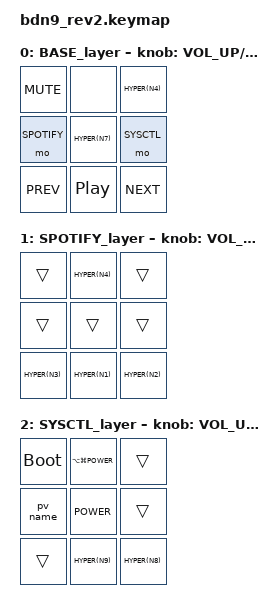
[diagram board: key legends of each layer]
#include <behaviors.dtsi>
#include <dt-bindings/zmk/keys.h>
#include <dt-bindings/zmk/rgb.h>

#define ______ &trans
#define HYPER(key) LS(LC(LA(LG(key))))

&sensors {
	status = "okay";
	sensors = <&left_encoder &mid_encoder &right_encoder>;
};

&left_encoder { status = "okay"; };
&right_encoder { status = "okay"; };


#define BASE    0
#define SPOTIFY 1
#define SYSCTL  2


#define PV_SP_PLAYPAUSE HYPER(N1)
#define PV_SP_NEXT HYPER(N2)
#define PV_SP_PREV HYPER(N3)
#define PV_SP_MUTE HYPER(N4)
#define PV_SP_VOLD HYPER(N5)
#define PV_SP_VOLU HYPER(N6)
#define PV_NT_TOD  HYPER(N7)
#define PV_RORO    HYPER(N8)
#define PV_SCRSVR  HYPER(N9)
#define PV_SLEEP   LA(LG(C_POWER))


/ {
	macros {
		// TODO: at some point, make this into a macro with something like SEND_STRING from qmk. apparently this doesnt exist yet in zmk.
		ZMK_MACRO(
			pv_name,
			bindings = <&kp B &kp D &kp N &kp N9 &kp UNDERSCORE &kp R &kp E &kp V &kp N2>;
			wait-ms = <30>;
			tap-ms = <30>;
		)
	};

	keymap {
		compatible = "zmk,keymap";

		BASE_layer {
			bindings = <
				&kp C_MUTE   &none             &kp PV_SP_MUTE
				&mo SPOTIFY  &kp PV_NT_TOD     &mo SYSCTL
				&kp C_PREV   &kp C_PLAY_PAUSE  &kp C_NEXT
			>;
			sensor-bindings = <&inc_dec_kp C_VOL_UP C_VOL_DN &inc_dec_kp X X &inc_dec_kp PV_SP_VOLU PV_SP_VOLD>;
		};

		SPOTIFY_layer {
			bindings = <
				______          &kp PV_SP_MUTE       ______
				______          ______               ______
				&kp PV_SP_PREV  &kp PV_SP_PLAYPAUSE  &kp PV_SP_NEXT
			>;
			sensor-bindings = <&inc_dec_kp C_VOL_UP C_VOL_DN &inc_dec_kp X X &inc_dec_kp PV_SP_VOLU PV_SP_VOLD>;
		};

		SYSCTL_layer {
			bindings = <
				&bootloader  &kp PV_SLEEP   ______
				&pv_name     &kp C_POWER    ______
				______       &kp PV_SCRSVR  &kp PV_RORO
			>;
			sensor-bindings = <&inc_dec_kp C_VOL_UP C_VOL_DN &inc_dec_kp X X &inc_dec_kp PV_SP_VOLU PV_SP_VOLD>;
		};
	};
};
